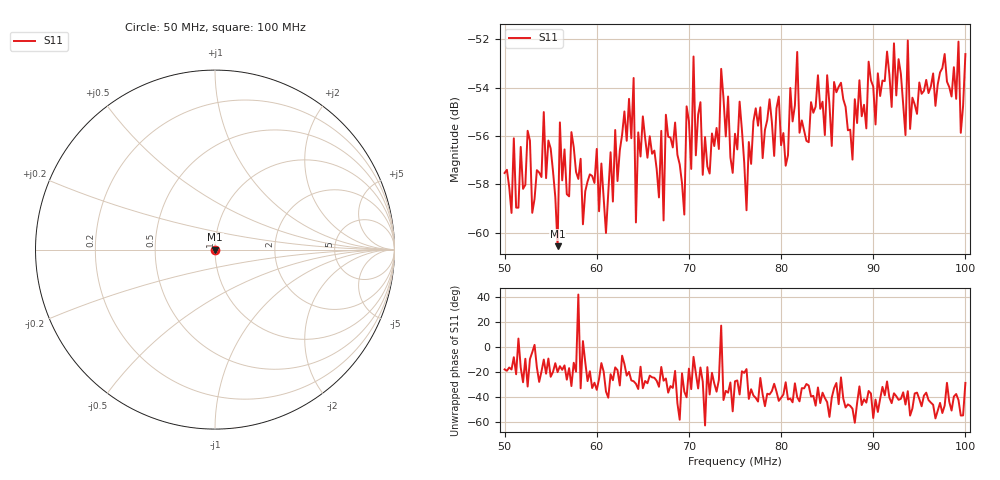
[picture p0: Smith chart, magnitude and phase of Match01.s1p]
!Agilent Technologies,E5072A,MY51200456,A.01.06
!Date: Tue Sep 01 20:14:00 2015
!Data & Calibration Information:
!Freq	S11:SOLT1(ON)
!PortZ  Port1:50+j0
!Above PortZ is port z conversion or system Z0 setting when saving the data.
!When reading, reference impedance value at option line is always used.
# Hz S dB R 50
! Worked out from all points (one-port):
!   201 points, 50 MHz to 100 MHz, reference 50 ohm
!   lowest |S11| = -60.6 dB at 55.75 MHz (marker M1), VSWR 1.00, Z = 50.1 - j0.0325 ohm
!   |S11| at or under -10 dB: start of sweep to end of sweep
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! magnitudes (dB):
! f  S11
! 50 MHz  -57.5
! 52.5 MHz  -55.8
! 53 MHz  -59.2
! 54.25 MHz  -55.0
! 55.75 MHz  -60.6
! 56 MHz  -55.4
! 56.25 MHz  -57.8
! 61 MHz  -60.0
! 62.5 MHz  -56.6
! 64 MHz  -53.6
! 64.25 MHz  -59.6
! 65 MHz  -55.2
! 67.25 MHz  -59.5
! 68.75 MHz  -56.8
! 69.5 MHz  -59.2
! 70.5 MHz  -52.7
! 71.5 MHz  -57.6
! 73.5 MHz  -53.2
! 75 MHz  -55.9
! 76.25 MHz  -59.1
! 77.25 MHz  -54.9
! 81.25 MHz  -55.4
! 87.5 MHz  -55.7
! 92.25 MHz  -52.2
! 93.5 MHz  -56.0
! 93.75 MHz  -52.0
! 94 MHz  -55.7
! 100 MHz  -52.6
